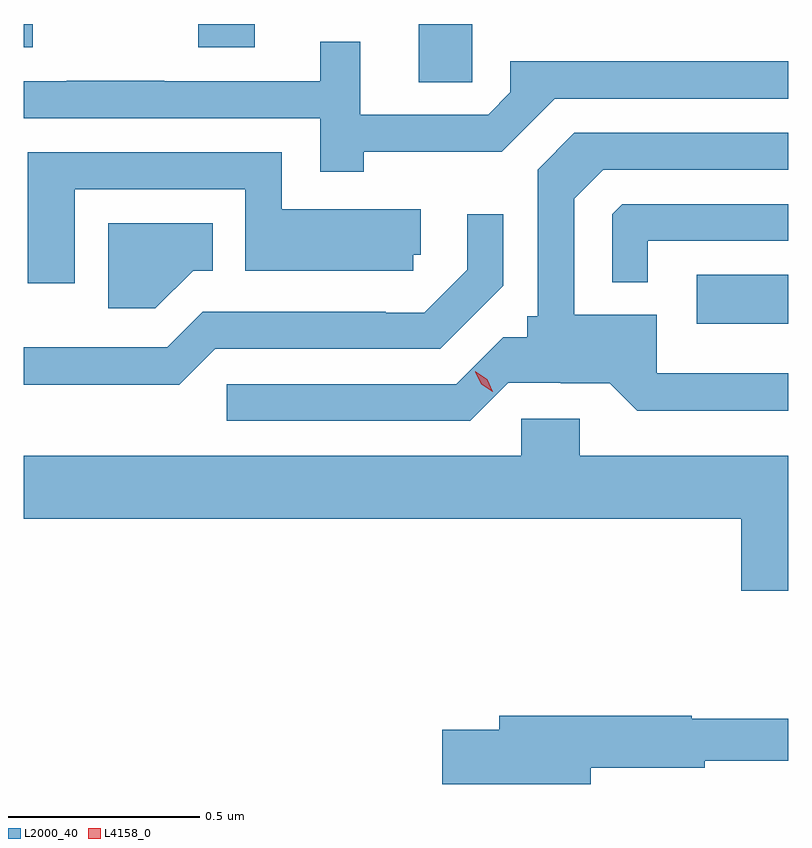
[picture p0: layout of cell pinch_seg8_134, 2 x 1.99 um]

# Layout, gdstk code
import gdstk
lib = gdstk.Library(unit=1e-6, precision=1e-09)
def R(c, l, rs):  # rectangles x0, y0, x1, y1
    for r in rs: c.add(gdstk.rectangle(r[:2], r[2:], *l))
def P(c, l, *ps):  # polygons
    for p in ps: c.add(gdstk.Polygon(p, *l))
L2000_40 = (2000, 40)
L4158_0 = (4158, 0)

pinch_seg8_134 = lib.new_cell('pinch_seg8_134')
R(pinch_seg8_134, L2000_40, [(860.196,1152.974,860.435,1153.102), (859.469,1153.606,859.608,1153.758), (858.435,1153.697,858.459,1153.758), (858.892,1153.697,859.039,1153.758)])
P(pinch_seg8_134, L2000_40, [(859.325,1153.424),(859.685,1153.424),(859.824,1153.563),(860.435,1153.563),(860.435,1153.66),(859.708,1153.66),(859.708,1153.579),(859.65,1153.521),(859.315,1153.521),(859.315,1153.711),(859.211,1153.711),(859.211,1153.608),(858.803,1153.608),(858.803,1153.61),(858.547,1153.61),(858.547,1153.608),(858.435,1153.608),(858.435,1153.512),(859.211,1153.512),(859.211,1153.371),(859.325,1153.371)],
  [(859.702,1152.819),(859.84,1152.819),(859.84,1152.818),(859.968,1152.818),(860.04,1152.746),(860.435,1152.746),(860.435,1152.844),(860.091,1152.844),(860.091,1152.997),(859.875,1152.997),(859.875,1153.301),(859.951,1153.377),(860.435,1153.377),(860.435,1153.473),(859.875,1153.473),(859.779,1153.377),(859.779,1152.993),(859.752,1152.993),(859.752,1152.939),(859.689,1152.939),(859.566,1152.816),(858.966,1152.816),(858.966,1152.72),(859.603,1152.72)],
  [(858.568,1153.326),(859.014,1153.326),(859.014,1153.112),(859.454,1153.112),(859.454,1153.155),(859.473,1153.155),(859.473,1153.273),(859.11,1153.273),(859.11,1153.422),(858.446,1153.422),(858.446,1153.08),(858.568,1153.08)],
  [(860.068,1153.191),(860.435,1153.191),(860.435,1153.287),(860.001,1153.287),(859.974,1153.26),(859.974,1153.082),(860.068,1153.082)],
  [(858.936,1152.909),(859.525,1152.909),(859.689,1153.073),(859.689,1153.261),(859.595,1153.261),(859.595,1153.115),(859.483,1153.003),(859.382,1153.003),(859.382,1153.005),(858.903,1153.005),(858.81,1152.912),(858.56,1152.912),(858.56,1152.913),(858.435,1152.913),(858.435,1152.815),(858.842,1152.815)],
  [(858.878,1153.112),(858.929,1153.112),(858.929,1153.237),(858.656,1153.237),(858.656,1153.014),(858.779,1153.014)],
  [(860.435,1152.628),(859.889,1152.628),(859.889,1152.726),(859.737,1152.726),(859.737,1152.628),(858.435,1152.628),(858.435,1152.464),(860.312,1152.464),(860.312,1152.276),(860.435,1152.276)],
  [(859.918,1151.812),(860.216,1151.812),(860.216,1151.831),(860.435,1151.831),(860.435,1151.941),(860.183,1151.941),(860.183,1151.948),(859.679,1151.948),(859.679,1151.912),(859.53,1151.912),(859.53,1151.77),(859.918,1151.77)])
P(pinch_seg8_134, L4158_0, [(859.662,1152.796),(859.632,1152.816),(859.616,1152.849),(859.616,1152.85),(859.616,1152.85),(859.647,1152.829),(859.662,1152.796),(859.662,1152.796)])

lib.write_gds('pinch_seg8_134.gds')
